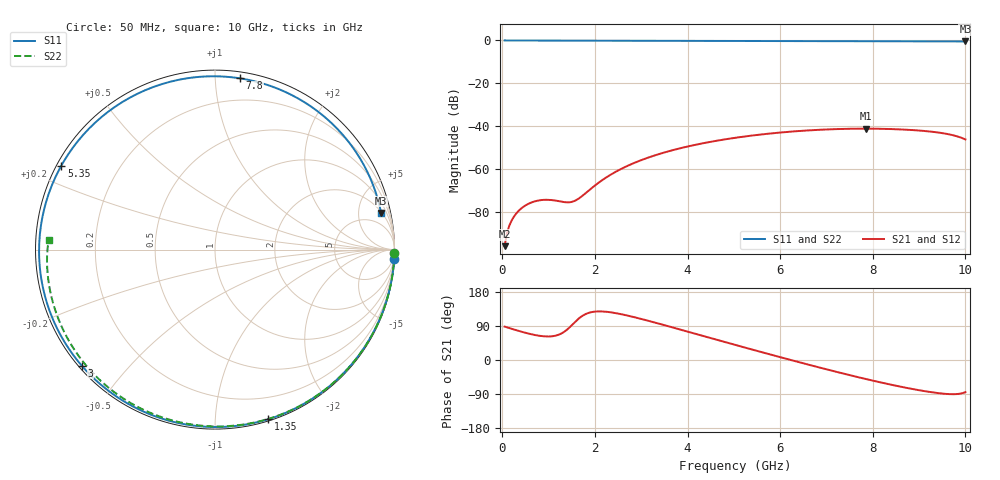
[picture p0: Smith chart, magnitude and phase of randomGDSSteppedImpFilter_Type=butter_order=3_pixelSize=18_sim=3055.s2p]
! freq	dB(S11)	phase(S11)	dB(S12)	phase(S12)
!  dB(S21)	phase(S21)	dB(S22)	phase(S22)
!S-par simulation data
#  GHz  S  DB  R 50
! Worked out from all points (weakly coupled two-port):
!   200 points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, 50 MHz to 10 GHz, reference 50 ohm
!   highest |S21| = -41.12 dB at 7.85 GHz (marker M1); lowest = -95.9 dB at 50 MHz (marker M2)
!   lowest |S11| = -0.5 dB at 10 GHz (marker M3), VSWR 37.10, Z = 108 + j431 ohm
!   |S11| at or under -10 dB: nowhere
!   |S22| runs from -0.7 to 0.0 dB; largest |S21 - S12| = 0
!   S11 on the Smith chart (normalised r, x): 50 MHz: 0, -40; 1.35 GHz: 0.01, -1.36; 3 GHz: 0.01, -0.37; 5.35 GHz: 0.01, +0.26; 7.8 GHz: 0.04, +1.16; 10 GHz: 2.15, +8.62
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0.05  -0.00 -2.9  -95.90 88.2  -95.90 88.2  -0.00 -1.0
0.3  -0.03 -17.1  -80.69 78.7  -80.69 78.7  -0.01 -6.2
0.55  -0.04 -31.1  -76.31 70.2  -76.31 70.2  -0.01 -11.3
0.8  -0.06 -44.6  -74.54 63.9  -74.54 63.9  -0.02 -16.5
1.35  -0.08 -72.6  -75.39 75.5  -75.39 75.5  -0.03 -27.6
1.55  -0.09 -82.0  -74.91 97.9  -74.91 97.9  -0.04 -31.7
1.75  -0.10 -90.9  -72.08 118.1  -72.08 118.1  -0.04 -35.7
2.35  -0.12 -115.6  -62.45 125.7  -62.45 125.7  -0.06 -47.5
3  -0.14 -139.0  -55.79 108.4  -55.79 108.4  -0.08 -59.9
3.4  -0.15 -152.1  -52.86 95.3  -52.86 95.3  -0.09 -67.4
4.2  -0.17 -176.3  -48.51 68.1  -48.51 68.1  -0.11 -82.0
5.05  -0.20 159.7  -45.32 39.2  -45.32 39.2  -0.15 -97.0
5.35  -0.21 151.4  -44.45 29.1  -44.45 29.1  -0.16 -102.1
6.05  -0.24 132.0  -42.83 5.9  -42.83 5.9  -0.20 -114.0
6.7  -0.27 113.8  -41.81 -15.1  -41.81 -15.1  -0.24 -124.8
7.25  -0.29 98.0  -41.30 -32.3  -41.30 -32.3  -0.28 -133.9
7.8  -0.32 81.7  -41.12 -48.8  -41.12 -48.8  -0.33 -143.1
7.85  -0.32 80.2  -41.12 -50.2  -41.12 -50.2  -0.33 -143.9
8.35  -0.34 64.9  -41.28 -64.0  -41.28 -64.0  -0.38 -152.3
9.25  -0.39 36.6  -42.49 -84.7  -42.49 -84.7  -0.49 -168.1
9.7  -0.43 22.1  -44.01 -90.2  -44.01 -90.2  -0.56 -176.8
10  -0.47 12.5  -46.14 -84.8  -46.14 -84.8  -0.65 176.6
